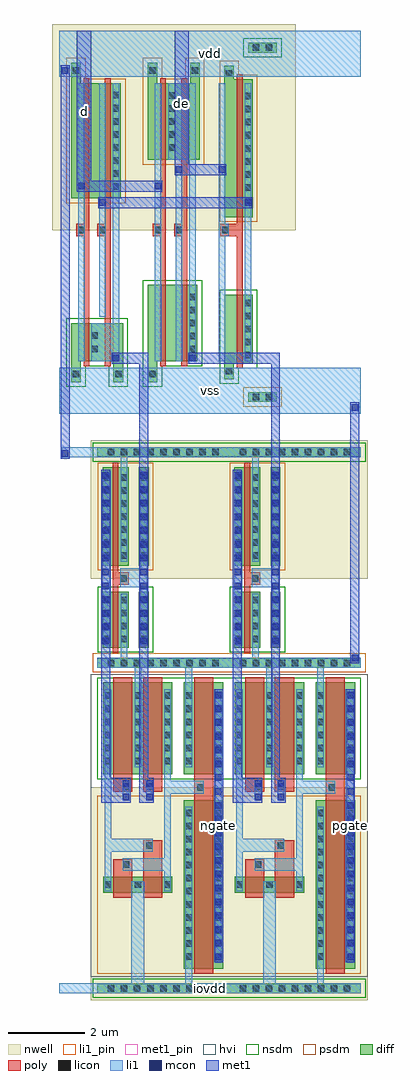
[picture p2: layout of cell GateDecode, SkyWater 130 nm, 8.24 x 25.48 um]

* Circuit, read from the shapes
.subckt GateDecode d de iovdd ngate pgate vdd vss
XM1 LevelUp_3/i d vss VSUBS sky130_fd_pr__nfet_01v8 w=1 l=0.15
XM2 vss nor2_x0_0/i1 LevelUp_3/i VSUBS sky130_fd_pr__nfet_01v8 w=1 l=0.15
XM3 vss LevelUp_3/i n1 VSUBS sky130_fd_pr__nfet_01v8 w=1.46 l=0.15
XM4 vss n1 n2 VSUBS sky130_fd_pr__nfet_g5v0d10v5 w=2.4 l=0.5
XM5 n3 LevelUp_3/i vss VSUBS sky130_fd_pr__nfet_g5v0d10v5 w=2.4 l=0.5
XM6 n4 d vss VSUBS sky130_fd_pr__nfet_01v8 w=2 l=0.15
XM7 LevelUp_4/i de n4 VSUBS sky130_fd_pr__nfet_01v8 w=2 l=0.15
XM8 ngate n3 vss VSUBS sky130_fd_pr__nfet_g5v0d10v5 w=2.4 l=0.5
XM9 nor2_x0_0/i1 de vss VSUBS sky130_fd_pr__nfet_01v8 w=1.8 l=0.15
XM10 vss LevelUp_4/i n5 VSUBS sky130_fd_pr__nfet_01v8 w=1.46 l=0.15
XM11 vss n5 n6 VSUBS sky130_fd_pr__nfet_g5v0d10v5 w=2.4 l=0.5
XM12 n7 LevelUp_4/i vss VSUBS sky130_fd_pr__nfet_g5v0d10v5 w=2.4 l=0.5
XM13 pgate n7 vss VSUBS sky130_fd_pr__nfet_g5v0d10v5 w=2.4 l=0.5
XM14 n8 d vdd n9 sky130_fd_pr__pfet_01v8 w=3 l=0.15
XM15 LevelUp_3/i nor2_x0_0/i1 n8 n9 sky130_fd_pr__pfet_01v8 w=3 l=0.15
XM16 vdd LevelUp_3/i n1 n10 sky130_fd_pr__pfet_01v8 w=2.56 l=0.15
XM17 iovdd n3 n2 n11 sky130_fd_pr__pfet_g5v0d10v5 w=0.42 l=0.5
XM18 n3 n2 iovdd n11 sky130_fd_pr__pfet_g5v0d10v5 w=0.42 l=0.5
XM19 LevelUp_4/i d vdd n9 sky130_fd_pr__pfet_01v8 w=2 l=0.15
XM20 vdd de LevelUp_4/i n9 sky130_fd_pr__pfet_01v8 w=2 l=0.15
XM21 ngate n3 iovdd n11 sky130_fd_pr__pfet_g5v0d10v5 w=4.4 l=0.5
XM22 nor2_x0_0/i1 de vdd n9 sky130_fd_pr__pfet_01v8 w=3.6 l=0.15
XM23 vdd LevelUp_4/i n5 n10 sky130_fd_pr__pfet_01v8 w=2.56 l=0.15
XM24 iovdd n7 n6 n11 sky130_fd_pr__pfet_g5v0d10v5 w=0.42 l=0.5
XM25 n7 n6 iovdd n11 sky130_fd_pr__pfet_g5v0d10v5 w=0.42 l=0.5
XM26 pgate n7 iovdd n11 sky130_fd_pr__pfet_g5v0d10v5 w=4.4 l=0.5
.ends

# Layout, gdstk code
import gdstk
lib = gdstk.Library(unit=1e-6, precision=1e-09)
def R(c, l, rs):  # rectangles x0, y0, x1, y1
    for r in rs: c.add(gdstk.rectangle(r[:2], r[2:], *l))
def A(c, l, x, y, w, h, nx, ny, dx, dy):  # array of equal rectangles
    R(c, l, [(x+i*dx, y+j*dy, x+i*dx+w, y+j*dy+h) for i in range(nx) for j in range(ny)])
def P(c, l, *ps):  # polygons
    for p in ps: c.add(gdstk.Polygon(p, *l))
nwell = (64, 20)
diff = (65, 20)
poly = (66, 20)
licon = (66, 44)
li1_pin = (67, 16)
li1 = (67, 20)
mcon = (67, 44)
met1_pin = (68, 16)
met1 = (68, 20)
hvi = (75, 20)
nsdm = (93, 44)
psdm = (94, 20)

nor2_x0 = lib.new_cell('nor2_x0')
R(nor2_x0, nwell, [(-0.18,4.8,2.18,10.18)])
P(nor2_x0, diff, [(0.315,0.83),(0.315,2.37),(1.67,2.37),(1.67,0.83),(1.42,0.83),(1.42,1.37),(0.565,1.37),(0.565,0.83)],
  [(0.315,5.63),(0.315,9.17),(0.565,9.17),(0.565,8.63),(1.61,8.63),(1.61,5.63)])
P(nor2_x0, poly, [(0.64,1.24),(0.64,4.635),(0.445,4.635),(0.445,4.965),(0.64,4.965),(0.64,8.76),(0.79,8.76),(0.79,1.24)],
  [(1.195,1.24),(1.195,4.635),(1,4.635),(1,4.965),(1.195,4.965),(1.195,8.76),(1.345,8.76),(1.345,1.24)])
A(nor2_x0, licon, 1.4, 5.855, 0.17, 0.17, 1, 8, 0, 0.34)
R(nor2_x0, licon, [(0.355,0.95,0.525,1.12), (1.46,0.95,1.63,1.12), (0.845,1.615,1.015,1.785), (0.845,1.955,1.015,2.125), (0.495,4.715,0.665,4.885), (1.05,4.715,1.22,4.885), (0.355,8.88,0.525,9.05)])
R(nor2_x0, li1_pin, [(0,0,2,1.2), (0.495,1.37,0.665,8.63), (1.4,1.37,1.57,8.63), (1.05,2.54,1.22,8.63), (0,8.8,2,10)])
R(nor2_x0, li1, [(0,0,2,1.2), (0.495,1.37,0.665,8.63), (1.05,2.54,1.22,8.63), (0,8.8,2,10)])
P(nor2_x0, li1, [(0.845,1.37),(0.845,2.37),(1.4,2.37),(1.4,8.63),(1.57,8.63),(1.57,1.37)])
P(nor2_x0, nsdm, [(0.19,0.705),(0.19,2.495),(1.795,2.495),(1.795,0.705),(1.295,0.705),(1.295,1.245),(0.69,1.245),(0.69,0.705)])
P(nor2_x0, psdm, [(0.19,5.505),(0.19,9.295),(0.69,9.295),(0.69,8.755),(1.735,8.755),(1.735,5.505)])
nor2_x0.add(gdstk.Label('vss', (1,0.6), layer=67, texttype=16))
nor2_x0.add(gdstk.Label('vdd', (1,9.4), layer=67, texttype=16))
nor2_x0.add(gdstk.Label('nq', (1.485,5), layer=67, texttype=16))
nor2_x0.add(gdstk.Label('i0', (0.58,5), layer=67, texttype=16))
nor2_x0.add(gdstk.Label('i1', (1.135,5.585), layer=67, texttype=16))

nand2_x0 = lib.new_cell('nand2_x0')
R(nand2_x0, nwell, [(-0.18,4.8,2.18,10.18)])
P(nand2_x0, diff, [(0.315,0.83),(0.315,3.37),(1.61,3.37),(1.61,1.37),(0.565,1.37),(0.565,0.83)],
  [(0.315,6.63),(0.315,9.17),(0.565,9.17),(0.565,8.63),(1.42,8.63),(1.42,9.17),(1.67,9.17),(1.67,6.63)])
P(nand2_x0, poly, [(0.64,1.24),(0.64,4.635),(0.445,4.635),(0.445,4.965),(0.64,4.965),(0.64,8.76),(0.79,8.76),(0.79,1.24)],
  [(1.195,1.24),(1.195,4.635),(1,4.635),(1,4.965),(1.195,4.965),(1.195,8.76),(1.345,8.76),(1.345,1.24)])
A(nand2_x0, licon, 1.4, 1.605, 0.17, 0.17, 1, 5, 0, 0.34)
A(nand2_x0, licon, 0.845, 6.865, 0.17, 0.17, 1, 5, 0, 0.34)
R(nand2_x0, licon, [(0.355,0.95,0.525,1.12), (0.495,4.715,0.665,4.885), (1.05,4.715,1.22,4.885), (0.355,8.88,0.525,9.05), (1.46,8.88,1.63,9.05)])
R(nand2_x0, li1_pin, [(0,0,2,1.2), (0.495,1.37,0.665,8.63), (1.05,1.37,1.22,6.46), (1.4,1.37,1.57,8.63), (0,8.8,2,10)])
R(nand2_x0, li1, [(0,0,2,1.2), (0.495,1.37,0.665,8.63), (1.05,1.37,1.22,6.46), (0,8.8,2,10)])
P(nand2_x0, li1, [(1.4,1.37),(1.4,6.63),(0.845,6.63),(0.845,8.63),(1.57,8.63),(1.57,1.37)])
P(nand2_x0, nsdm, [(0.19,0.705),(0.19,3.495),(1.735,3.495),(1.735,1.245),(0.69,1.245),(0.69,0.705)])
P(nand2_x0, psdm, [(0.19,6.505),(0.19,9.295),(0.69,9.295),(0.69,8.755),(1.295,8.755),(1.295,9.295),(1.795,9.295),(1.795,6.505)])
nand2_x0.add(gdstk.Label('vss', (1,0.6), layer=67, texttype=16))
nand2_x0.add(gdstk.Label('vdd', (1,9.4), layer=67, texttype=16))
nand2_x0.add(gdstk.Label('i0', (0.58,5), layer=67, texttype=16))
nand2_x0.add(gdstk.Label('nq', (1.485,5), layer=67, texttype=16))
nand2_x0.add(gdstk.Label('i1', (1.135,3.915), layer=67, texttype=16))

inv_x1 = lib.new_cell('inv_x1')
R(inv_x1, nwell, [(-0.18,4.8,2.18,10.18)])
R(inv_x1, diff, [(0.935,0.315,1.685,0.565), (0.935,9.435,1.685,9.685)])
P(inv_x1, diff, [(0.315,0.91),(0.315,3.115),(1.055,3.115),(1.055,1.315),(0.565,1.315),(0.565,0.91)],
  [(0.315,5.135),(0.315,9.09),(0.565,9.09),(0.565,8.735),(1.055,8.735),(1.055,5.135)])
P(inv_x1, poly, [(0.64,1.185),(0.64,4.635),(0.205,4.635),(0.205,4.965),(0.64,4.965),(0.64,8.865),(0.79,8.865),(0.79,1.185)])
A(inv_x1, licon, 0.845, 1.45, 0.17, 0.17, 1, 5, 0, 0.34)
A(inv_x1, licon, 0.845, 5.49, 0.17, 0.17, 1, 9, 0, 0.34)
R(inv_x1, licon, [(1.055,0.355,1.225,0.525), (1.395,0.355,1.565,0.525), (0.355,1.03,0.525,1.2), (0.255,4.715,0.425,4.885), (0.355,8.8,0.525,8.97), (1.055,9.475,1.225,9.645), (1.395,9.475,1.565,9.645)])
R(inv_x1, li1_pin, [(0,0,2,1.2), (0.17,1.37,0.34,8.63), (0.845,1.37,1.015,8.63), (0,8.8,2,10)])
R(inv_x1, li1, [(0,0,2,1.2), (0.845,1.37,1.015,8.63), (0,8.8,2,10)])
P(inv_x1, li1, [(0.17,1.37),(0.17,8.63),(0.34,8.63),(0.34,4.965),(0.425,4.965),(0.425,4.635),(0.34,4.635),(0.34,1.37)])
R(inv_x1, nsdm, [(0.81,9.31,1.81,9.81)])
P(inv_x1, nsdm, [(0.19,0.785),(0.19,3.24),(1.18,3.24),(1.18,1.19),(0.69,1.19),(0.69,0.785)])
R(inv_x1, psdm, [(0.81,0.19,1.81,0.69)])
P(inv_x1, psdm, [(0.19,5.01),(0.19,9.215),(0.69,9.215),(0.69,8.86),(1.18,8.86),(1.18,5.01)])
inv_x1.add(gdstk.Label('i', (0.255,5), layer=67, texttype=16))
inv_x1.add(gdstk.Label('vss', (1,0.6), layer=67, texttype=16))
inv_x1.add(gdstk.Label('vdd', (1,9.4), layer=67, texttype=16))
inv_x1.add(gdstk.Label('nq', (0.93,5), layer=67, texttype=16))

levelup = lib.new_cell('LevelUp')
R(levelup, nwell, [(-0.18,-0.305,3.62,5.25), (-0.18,10.7,3.62,14.305)])
R(levelup, diff, [(0,-0.125,3.44,0.125), (2.26,0.505,3.29,4.905), (0.15,2.495,1.96,2.915), (0.15,5.59,1.96,7.99), (2.26,5.59,3.29,7.99), (0,8.375,3.44,8.625), (0.135,8.895,0.815,10.355), (1.085,8.895,1.335,10.355), (0.135,11.04,0.815,13.6), (1.085,11.04,1.335,13.6), (0,13.875,3.44,14.125)])
R(levelup, poly, [(2.525,0.375,3.025,8.12), (0.415,2.365,0.915,3.37), (1.195,2.365,1.695,3.87), (0.415,5.135,0.915,8.12), (1.195,5.135,1.695,8.12)])
P(levelup, poly, [(0.4,8.765),(0.4,13.73),(0.55,13.73),(0.55,10.865),(0.815,10.865),(0.815,10.535),(0.55,10.535),(0.55,8.765)])
A(levelup, licon, 0.275, -0.085, 0.17, 0.17, 9, 2, 0.34, 8.5)
A(levelup, licon, 2.3, 0.75, 0.17, 0.17, 1, 12, 0, 0.34)
A(levelup, licon, 3.08, 0.75, 0.17, 0.17, 1, 12, 0, 0.34)
A(levelup, licon, 0.19, 2.62, 0.17, 0.17, 3, 2, 0.78, 3.235)
A(levelup, licon, 2.3, 5.855, 0.17, 0.17, 1, 6, 0, 0.34)
A(levelup, licon, 3.08, 5.855, 0.17, 0.17, 1, 6, 0, 0.34)
A(levelup, licon, 0.19, 6.195, 0.17, 0.17, 3, 5, 0.78, 0.34)
A(levelup, licon, 0.175, 9.03, 0.17, 0.17, 1, 4, 0, 0.34)
A(levelup, licon, 0.605, 9.03, 0.17, 0.17, 1, 4, 0, 0.34)
A(levelup, licon, 1.125, 9.03, 0.17, 0.17, 1, 4, 0, 0.34)
A(levelup, licon, 0.175, 11.215, 0.17, 0.17, 1, 7, 0, 0.34)
A(levelup, licon, 0.605, 11.215, 0.17, 0.17, 1, 7, 0, 0.34)
A(levelup, licon, 1.125, 11.215, 0.17, 0.17, 1, 7, 0, 0.34)
A(levelup, licon, 0.275, 13.915, 0.17, 0.17, 9, 1, 0.34, 0)
R(levelup, licon, [(0.665,3.15,0.835,3.32), (1.275,3.65,1.445,3.82), (2.605,5.165,2.775,5.335), (0.665,5.185,0.835,5.355), (1.275,5.185,1.445,5.355), (0.595,10.615,0.765,10.785)])
R(levelup, li1_pin, [(0,-0.13,3.44,0.13), (0,8.37,3.44,8.63), (0,13.87,3.44,14.13)])
R(levelup, li1, [(3.08,0.67,3.25,7.805), (0.665,4.905,0.835,5.435), (1.275,4.905,1.445,5.435)])
P(levelup, li1, [(0,-0.13),(0,0.13),(0.89,0.13),(0.89,2.79),(1.22,2.79),(1.22,0.13),(2.3,0.13),(2.3,4.74),(2.47,4.74),(2.47,0.13),(3.44,0.13),(3.44,-0.13)],
  [(0.19,2.54),(0.19,7.805),(0.36,7.805),(0.36,3.9),(1.445,3.9),(1.445,3.57),(0.36,3.57),(0.36,2.54)],
  [(1.75,2.54),(1.75,3.07),(0.665,3.07),(0.665,3.4),(1.75,3.4),(1.75,7.805),(1.92,7.805),(1.92,5.415),(2.775,5.415),(2.775,5.085),(1.92,5.085),(1.92,2.54)],
  [(0.97,5.775),(0.97,8.37),(0,8.37),(0,8.63),(0.605,8.63),(0.605,10.3),(0.775,10.3),(0.775,8.63),(3.44,8.63),(3.44,8.37),(2.47,8.37),(2.47,5.775),(2.3,5.775),(2.3,8.37),(1.14,8.37),(1.14,5.775)],
  [(0.175,8.95),(0.175,8.985),(0.13,8.985),(0.13,13.475),(0.175,13.475),(0.175,13.505),(0.345,13.505),(0.345,8.95)],
  [(1.125,8.95),(1.125,10.47),(0.595,10.47),(0.595,10.965),(1.125,10.965),(1.125,13.505),(1.295,13.505),(1.295,8.95)],
  [(0.605,11.135),(0.605,13.87),(0,13.87),(0,14.13),(3.44,14.13),(3.44,13.87),(0.775,13.87),(0.775,11.135)])
A(levelup, mcon, 3.08, 0.735, 0.17, 0.17, 1, 20, 0, 0.36)
A(levelup, mcon, 0.13, 8.985, 0.17, 0.17, 1, 13, 0, 0.36)
A(levelup, mcon, 1.125, 8.985, 0.17, 0.17, 1, 13, 0, 0.36)
R(levelup, mcon, [(0.665,4.905,0.835,5.075), (1.275,4.905,1.445,5.075), (0.665,5.265,0.835,5.435), (1.275,5.265,1.445,5.435)])
R(levelup, met1_pin, [(3.05,0.675,3.28,7.805), (1.095,8.925,1.325,13.535)])
R(levelup, met1, [(3.05,0.675,3.28,7.805)])
P(levelup, met1, [(0.1,4.845),(0.1,13.535),(0.33,13.535),(0.33,5.495),(0.865,5.495),(0.865,4.845)],
  [(1.095,4.845),(1.095,13.535),(1.325,13.535),(1.325,5.495),(1.475,5.495),(1.475,4.845)])
R(levelup, hvi, [(-0.18,0.305,3.62,8.195)])
R(levelup, nsdm, [(-0.125,-0.25,3.565,0.25), (0,5.465,3.44,8.115), (0.01,8.77,1.46,10.48), (-0.125,13.75,3.565,14.25)])
R(levelup, psdm, [(0,0.38,3.44,5.03), (-0.125,8.25,3.565,8.75), (0.01,10.915,1.46,13.725)])
levelup.add(gdstk.Label('vdd', (1.72,14), layer=67, texttype=16))
levelup.add(gdstk.Label('vss', (1.72,8.5), layer=67, texttype=16))
levelup.add(gdstk.Label('iovdd', (1.72,0), layer=67, texttype=16))
levelup.add(gdstk.Label('vdd', (1.72,14), layer=67, texttype=16))
levelup.add(gdstk.Label('vss', (1.72,8.5), layer=67, texttype=16))
levelup.add(gdstk.Label('iovdd', (1.72,0), layer=67, texttype=16))
levelup.add(gdstk.Label('i', (1.21,11.23), layer=68, texttype=16))
levelup.add(gdstk.Label('o', (3.165,4.24), layer=68, texttype=16))
levelup.add(gdstk.Label('i', (1.21,11.23), layer=68, texttype=16))
levelup.add(gdstk.Label('o', (3.165,4.24), layer=68, texttype=16))

gatedecode = lib.new_cell('GateDecode')
R(gatedecode, li1_pin, [(0,-15.13,7.88,-14.87), (0,0,7.88,1.2), (0,8.8,7.88,10)])
R(gatedecode, li1, [(0,-15.13,7.88,-14.87), (7.635,-6.455,7.805,-6.285), (0.075,-1.13,1,-0.87), (0,0,7.88,1.2), (1.4,1.37,1.57,1.54), (3.4,1.37,3.57,1.54), (1.05,5.43,1.22,5.6), (4.845,5.43,5.015,5.6), (0.495,5.86,0.665,6.03), (2.495,5.86,2.665,6.03), (3.05,6.29,3.22,6.46), (4.17,6.29,4.34,6.46), (0,8.8,7.88,10)])
R(gatedecode, mcon, [(7.635,-6.455,7.805,-6.285), (0.075,-1.115,0.245,-0.945), (7.635,0.075,7.805,0.245), (1.4,1.37,1.57,1.54), (3.4,1.37,3.57,1.54), (1.05,5.43,1.22,5.6), (4.845,5.43,5.015,5.6), (0.495,5.86,0.665,6.03), (2.495,5.86,2.665,6.03), (3.05,6.29,3.22,6.46), (4.17,6.29,4.34,6.46), (0.075,8.875,0.245,9.045)])
R(gatedecode, met1_pin, [(4.05,-14.325,4.28,-7.195), (7.49,-14.325,7.72,-7.195), (0.465,5.8,0.835,10), (3.02,6.23,3.39,10)])
R(gatedecode, met1, [(4.05,-14.325,4.28,-7.195), (7.49,-14.325,7.72,-7.195), (7.605,-6.515,7.835,0.305), (0.045,-1.175,0.275,9.105), (1.02,5.37,5.045,5.66)])
P(gatedecode, met1, [(2.095,-6.075),(2.095,1.31),(1.37,1.31),(1.37,1.6),(2.325,1.6),(2.325,-6.075)],
  [(5.535,-6.075),(5.535,1.31),(3.37,1.31),(3.37,1.6),(5.765,1.6),(5.765,-6.075)],
  [(0.465,5.8),(0.465,10),(0.835,10),(0.835,6.09),(2.695,6.09),(2.695,5.8)],
  [(3.02,6.23),(3.02,10),(3.39,10),(3.39,6.52),(4.37,6.52),(4.37,6.23)])
gatedecode.add(gdstk.Reference(nor2_x0, (0,0)))
gatedecode.add(gdstk.Reference(nand2_x0, (2,0)))
gatedecode.add(gdstk.Reference(inv_x1, (4,0)))
gatedecode.add(gdstk.Reference(levelup, (1,-15)))
gatedecode.add(gdstk.Reference(levelup, (4.44,-15)))
gatedecode.add(gdstk.Reference(nor2_x0, (0,0)))
gatedecode.add(gdstk.Reference(nand2_x0, (2,0)))
gatedecode.add(gdstk.Reference(inv_x1, (4,0)))
gatedecode.add(gdstk.Reference(levelup, (1,-15)))
gatedecode.add(gdstk.Reference(levelup, (4.44,-15)))
gatedecode.add(gdstk.Label('vss', (3.94,0.6), layer=67, texttype=16))
gatedecode.add(gdstk.Label('vdd', (3.94,9.4), layer=67, texttype=16))
gatedecode.add(gdstk.Label('iovdd', (3.94,-15), layer=67, texttype=16))
gatedecode.add(gdstk.Label('vss', (3.94,0.6), layer=67, texttype=16))
gatedecode.add(gdstk.Label('vdd', (3.94,9.4), layer=67, texttype=16))
gatedecode.add(gdstk.Label('iovdd', (3.94,-15), layer=67, texttype=16))
gatedecode.add(gdstk.Label('de', (3.205,8.115), layer=68, texttype=16))
gatedecode.add(gdstk.Label('d', (0.65,7.9), layer=68, texttype=16))
gatedecode.add(gdstk.Label('ngate', (4.165,-10.76), layer=68, texttype=16))
gatedecode.add(gdstk.Label('pgate', (7.605,-10.76), layer=68, texttype=16))
gatedecode.add(gdstk.Label('de', (3.205,8.115), layer=68, texttype=16))
gatedecode.add(gdstk.Label('d', (0.65,7.9), layer=68, texttype=16))
gatedecode.add(gdstk.Label('ngate', (4.165,-10.76), layer=68, texttype=16))
gatedecode.add(gdstk.Label('pgate', (7.605,-10.76), layer=68, texttype=16))

lib.write_gds('GateDecode.gds')
